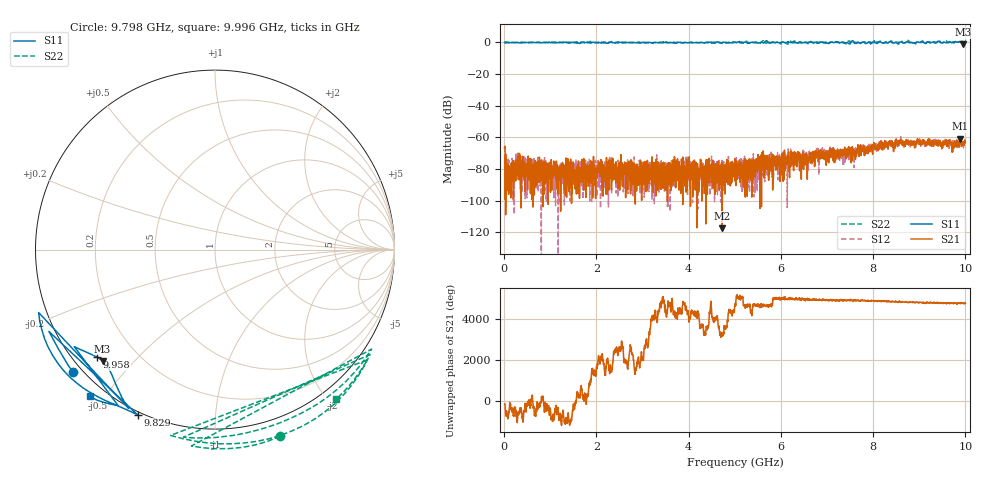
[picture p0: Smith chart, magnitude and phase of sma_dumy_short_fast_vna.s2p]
!Agilent Technologies,N5242A,US46520174,A.09.00.04
!Agilent N5242A: A.09.00.04
!Date: Monday, October 02, 2017 12:12:03
!Correction: S11(Full 2 Port(1,2))
!S21(Full 2 Port(1,2))
!S12(Full 2 Port(1,2))
!S22(Full 2 Port(1,2))
!S2P File: Measurements: S11, S21, S12, S22:
# Hz S  RI  R 50
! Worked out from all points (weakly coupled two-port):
!   2624 points, 10 MHz to 10 GHz, reference 50 ohm
!   highest |S21| = -60.84 dB at 9.893 GHz (marker M1); lowest = -117.4 dB at 4.729 GHz (marker M2)
!   lowest |S11| = -1.1 dB at 9.95 GHz (marker M3), VSWR 15.89, Z = 3.68 - j20.5 ohm
!   |S11| at or under -10 dB: nowhere
!   |S22| runs from -1.1 to 1.3 dB; largest |S21 - S12| = 0.00079
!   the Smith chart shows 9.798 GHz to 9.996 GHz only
!   S11 on the Smith chart (normalised r, x): 9.798 GHz: -0.02, -0.37; 9.829 GHz: -0.01, -0.64; 9.958 GHz: 0.07, -0.39; 9.996 GHz: -0.04, -0.46
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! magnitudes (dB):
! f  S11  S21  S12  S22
! 10 MHz  0.0  -66.8  -65.5  0.0
! 93.79 MHz  -0.1  -86.2  -81.2  0.0
! 303.3 MHz  0.0  -75.2  -77.4  -0.1
! 668.9 MHz  0.0  -77.6  -80.8  0.2
! 1.678 GHz  0.2  -88.1  -86.1  -0.2
! 3.343 GHz  -0.2  -76.6  -81.9  -0.2
! 4.729 GHz  -0.1  -117.4  -87.3  -0.6
! 5.007 GHz  0.1  -74.8  -77.4  0.2
! 5.373 GHz  0.0  -78.4  -79.4  0.3
! 5.571 GHz  0.1  -76.5  -76.5  0.2
! 6.454 GHz  -0.4  -71.5  -73.5  -0.1
! 6.671 GHz  0.1  -71.0  -75.2  0.3
! 6.911 GHz  -0.1  -70.4  -73.1  0.1
! 7.376 GHz  -0.3  -67.6  -70.5  -0.2
! 8.336 GHz  0.1  -63.8  -64.5  0.0
! 9.798 GHz  0.4  -66.1  -65.4  0.8
! 9.829 GHz  0.1  -62.6  -63.6  0.3
! 9.893 GHz  0.5  -60.8  -63.4  0.4
! 9.95 GHz  -1.1  -64.0  -62.7  0.8
! 9.958 GHz  -1.0  -64.8  -65.9  0.7
! 9.996 GHz  0.6  -62.4  -62.7  0.6
! 10 GHz  0.7  -63.0  -64.1  0.7
